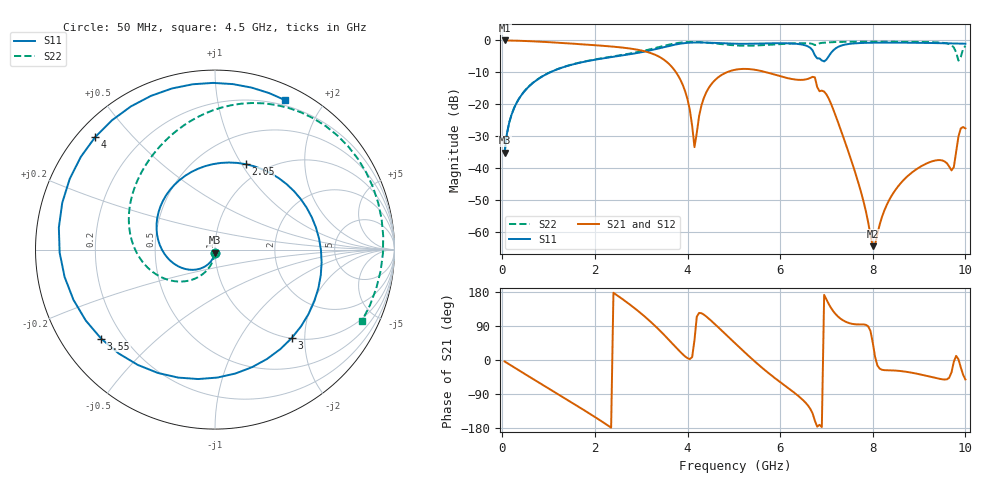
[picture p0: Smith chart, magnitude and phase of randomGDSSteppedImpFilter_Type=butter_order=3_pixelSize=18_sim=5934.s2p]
! freq	dB(S11)	phase(S11)	dB(S12)	phase(S12)
!  dB(S21)	phase(S21)	dB(S22)	phase(S22)
!S-par simulation data
#  GHz  S  DB  R 50
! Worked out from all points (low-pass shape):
!   200 points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, 50 MHz to 10 GHz, reference 50 ohm
!   highest |S21| = -0.01 dB at 50 MHz (marker M1); lowest = -64.5 dB at 8 GHz (marker M2)
!   |S21| within 3 dB of the highest: start of sweep to 2.956 GHz
!   lowest |S11| = -35.2 dB at 50 MHz (marker M3), VSWR 1.04, Z = 49.9 - j1.74 ohm
!   |S11| at or under -10 dB: start of sweep to 1.032 GHz
!   |S22| runs from -35.1 to -0.4 dB; largest |S21 - S12| = 0
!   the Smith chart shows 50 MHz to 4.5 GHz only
!   S11 on the Smith chart (normalised r, x): 50 MHz: 1.00, -0.03; 2.05 GHz: 0.81, +1.04; 3 GHz: 1.01, -1.73; 3.55 GHz: 0.12, -0.34; 4 GHz: 0.05, +0.40; 4.5 GHz: 0.14, +1.56
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0.05  -35.16 -93.9  -0.01 -3.9  -0.01 -3.9  -35.14 -92.0
0.5  -15.56 -137.4  -0.18 -37.9  -0.18 -37.9  -15.52 -119.2
1.1  -9.56 165.8  -0.63 -82.6  -0.63 -82.6  -9.52 -152.3
1.75  -6.74 101.8  -1.24 -131.2  -1.24 -131.2  -6.67 174.5
2.05  -5.92 70.3  -1.55 -154.3  -1.55 -154.3  -5.83 159.9
3  -3.71 -49.1  -3.14 122.5  -3.14 122.5  -3.41 112.6
3.4  -2.41 -114.8  -5.21 78.0  -5.21 78.0  -2.02 87.4
3.55  -1.88 -142.0  -6.71 59.2  -6.71 59.2  -1.49 75.8
4  -0.76 136.8  -18.47 4.8  -18.47 4.8  -0.51 32.5
4.15  -0.65 112.6  -33.44 52.6  -33.44 52.6  -0.48 16.0
4.5  -0.73 64.9  -13.98 104.8  -13.98 104.8  -0.82 -26.0
5.05  -1.04 11.3  -9.13 41.6  -9.13 41.6  -1.57 -105.8
5.6  -0.96 -28.9  -9.61 -19.5  -9.61 -19.5  -1.49 167.4
6.35  -1.05 -87.4  -12.29 -90.6  -12.29 -90.6  -0.89 81.4
6.7  -3.08 -145.1  -11.40 -140.7  -11.40 -140.7  -1.10 52.6
6.95  -6.57 103.7  -16.04 171.9  -16.04 171.9  -0.71 40.3
7.2  -2.47 -15.9  -23.65 120.7  -23.65 120.7  -0.50 24.9
7.5  -1.07 -61.6  -36.02 97.1  -36.02 97.1  -0.42 8.6
8  -0.71 -96.9  -64.45 45.5  -64.45 45.5  -0.39 -14.6
8.35  -0.68 -114.5  -50.12 -27.3  -50.12 -27.3  -0.40 -28.8
9.8  -0.97 179.2  -34.90 10.9  -34.90 10.9  -3.75 -92.9
10  -1.03 168.5  -27.57 -51.4  -27.57 -51.4  -1.66 -63.5
